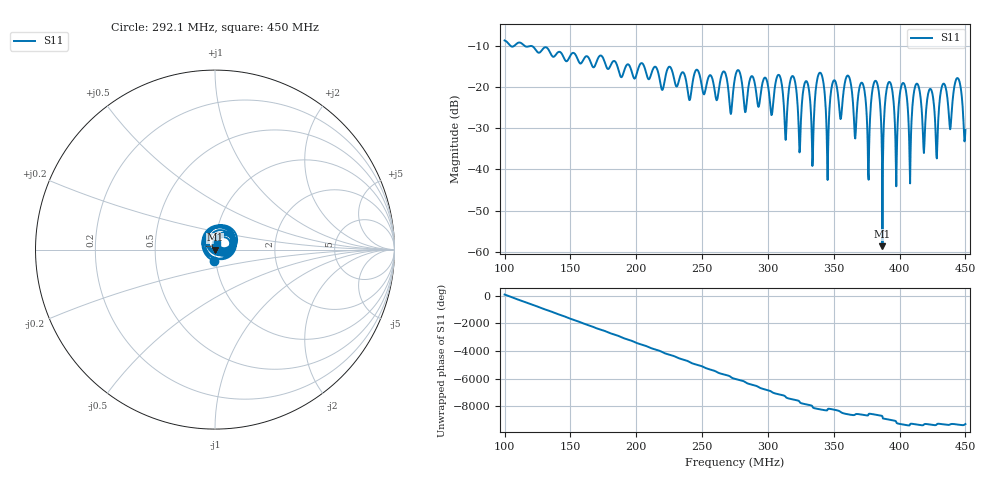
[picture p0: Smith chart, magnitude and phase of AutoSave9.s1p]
!Agilent N9923A: A.05.17
!Date: Sunday, 01 January 2006 12:46:50
!Model: N9923A
!Serial: MY50371189
!CHECKSUM:1742884643
!Correction: S11(ON U)
!S1P File: Measurement: S11:
# Hz S RI R 50
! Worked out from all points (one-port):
!   1001 points, 100 MHz to 450 MHz, reference 50 ohm
!   lowest |S11| = -58.6 dB at 387 MHz (marker M1), VSWR 1.00, Z = 50 - j0.115 ohm
!   |S11| at or under -10 dB: 104.5 MHz to 107.4 MHz (2.861 MHz wide, 2.7 % of centre); 115.1 MHz to end of sweep
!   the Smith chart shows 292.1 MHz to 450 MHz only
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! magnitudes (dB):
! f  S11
! 100 MHz  -8.7
! 143.8 MHz  -12.1
! 187.5 MHz  -17.0
! 231.2 MHz  -19.7
! 275 MHz  -17.7
! 308.2 MHz  -17.0
! 313.5 MHz  -32.8
! 318.8 MHz  -17.3
! 333.8 MHz  -39.2
! 340.1 MHz  -16.6
! 345.4 MHz  -42.6
! 349.6 MHz  -18.6
! 362.5 MHz  -18.4
! 366.4 MHz  -32.5
! 372.3 MHz  -19.4
! 376.5 MHz  -42.5
! 382.4 MHz  -18.7
! 387 MHz  -58.6
! 391.9 MHz  -18.8
! 397.1 MHz  -37.6
! 402.4 MHz  -19.0
! 406.2 MHz  -25.2
! 413.2 MHz  -19.2
! 428.3 MHz  -37.3
! 432.5 MHz  -19.6
! 438.4 MHz  -30.2
! 444.1 MHz  -17.8
! 450 MHz  -30.4
